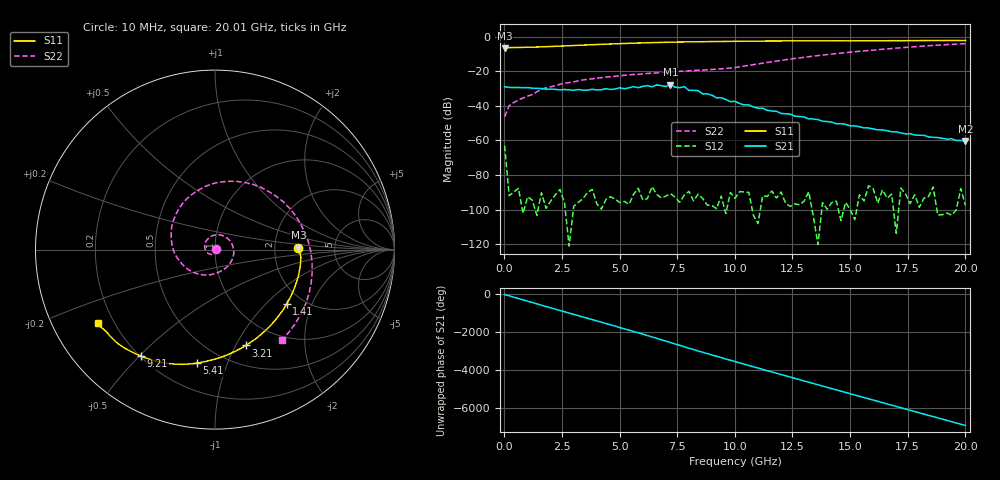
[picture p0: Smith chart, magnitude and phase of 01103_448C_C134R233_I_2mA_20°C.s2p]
!;Filter: kein Filter
!auto
!3/21/2019 9:26:52 AM
!3/21/2019 9:27:07 AM
!SP-Measurements Prober G4
!SP-Measurements Prober G4
!134
!233
!12
!20
!-20
!0.00199954
!1.75
!0.22129449
!0.22129449
# Hz S  RI  R 50
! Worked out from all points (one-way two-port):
!   101 points, 10 MHz to 20.01 GHz, reference 50 ohm
!   highest |S21| = -27.72 dB at 7.21 GHz (marker M1); lowest = -60.3 dB at 20.01 GHz (marker M2)
!   lowest |S11| = -6.6 dB at 10 MHz (marker M3), VSWR 2.74, Z = 137 + j3.78 ohm
!   |S11| at or under -10 dB: nowhere
!   |S22| runs from -46.3 to -4.1 dB; largest |S21 - S12| = 0.041
!   S11 on the Smith chart (normalised r, x): 10 MHz: 2.74, +0.08; 1.41 GHz: 1.67, -1.34; 3.21 GHz: 0.71, -1.10; 5.41 GHz: 0.37, -0.78; 9.21 GHz: 0.20, -0.51; 20.01 GHz: 0.14, -0.28
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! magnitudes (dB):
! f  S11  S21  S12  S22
! 10 MHz  -6.6  -28.9  -63.0  -46.3
! 210 MHz  -6.4  -29.4  -92.0  -39.9
! 1.41 GHz  -6.0  -29.9  -103.3  -31.9
! 1.81 GHz  -5.8  -30.4  -99.2  -29.6
! 3.21 GHz  -5.0  -30.6  -95.8  -25.6
! 3.41 GHz  -4.9  -30.9  -93.6  -25.1
! 5.41 GHz  -3.9  -29.6  -97.0  -22.1
! 6.81 GHz  -3.3  -28.3  -93.3  -20.8
! 7.01 GHz  -3.3  -28.9  -92.2  -20.6
! 7.21 GHz  -3.2  -27.7  -90.8  -20.4
! 7.41 GHz  -3.2  -29.3  -92.8  -20.2
! 7.81 GHz  -3.1  -28.9  -91.6  -19.9
! 8.01 GHz  -3.0  -31.1  -89.5  -19.8
! 8.41 GHz  -3.0  -31.2  -91.1  -19.4
! 8.61 GHz  -2.9  -33.2  -93.6  -19.3
! 8.81 GHz  -2.9  -33.1  -97.4  -19.2
! 9.21 GHz  -2.8  -35.4  -99.4  -18.8
! 10.01 GHz  -2.7  -37.4  -93.5  -17.9
! 11.41 GHz  -2.5  -42.6  -92.4  -14.9
! 13.41 GHz  -2.4  -47.6  -104.0  -11.3
! 16.81 GHz  -2.4  -55.0  -91.1  -6.9
! 20.01 GHz  -2.3  -60.3  -97.5  -4.1
